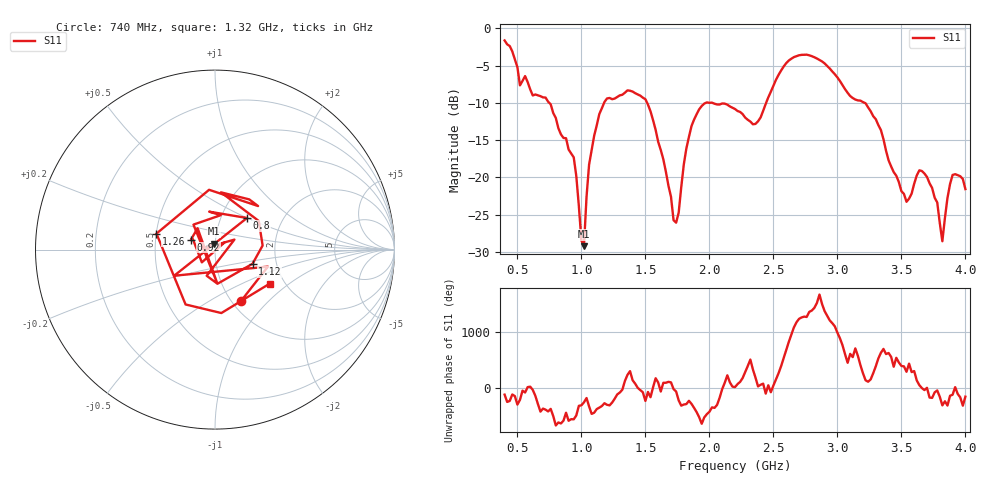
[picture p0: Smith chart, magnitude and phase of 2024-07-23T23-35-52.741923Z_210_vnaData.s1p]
!Created with skrf (http://scikit-rf.org).
# Hz S RI R 50.0
!freq ReS11 ImS11
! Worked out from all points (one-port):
!   181 points, 400 MHz to 4 GHz, reference 50 ohm
!   lowest |S11| = -29.2 dB at 1.02 GHz (marker M1), VSWR 1.07, Z = 49.3 + j3.35 ohm
!   |S11| at or under -10 dB: 749.3 MHz to 1.177 GHz (427.8 MHz wide, 44.4 % of centre); 1.514 GHz to 1.972 GHz (457.9 MHz wide, 26.3 % of centre); 3.214 GHz to end of sweep (the widest 3 of 4)
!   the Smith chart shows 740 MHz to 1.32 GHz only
!   S11 on the Smith chart (normalised r, x): 740 MHz: 1.10, -0.71; 800 MHz: 1.33, +0.50; 920 MHz: 0.76, +0.09; 1.12 GHz: 1.50, -0.25; 1.26 GHz: 0.50, +0.10; 1.32 GHz: 1.68, -0.73
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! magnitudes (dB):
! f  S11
! 400 MHz  -1.6
! 520 MHz  -7.6
! 740 MHz  -9.8
! 800 MHz  -12.0
! 860 MHz  -14.7
! 920 MHz  -16.8
! 1.02 GHz  -29.2
! 1.06 GHz  -18.3
! 1.12 GHz  -13.0
! 1.26 GHz  -9.4
! 1.3 GHz  -9.0
! 1.32 GHz  -8.9
! 1.5 GHz  -9.5
! 1.72 GHz  -25.8
! 1.76 GHz  -24.7
! 1.82 GHz  -16.1
! 1.92 GHz  -10.9
! 2.2 GHz  -10.8
! 2.36 GHz  -12.8
! 2.66 GHz  -3.9
! 3.1 GHz  -9.1
! 3.3 GHz  -12.2
! 3.56 GHz  -22.9
! 3.68 GHz  -19.5
! 3.78 GHz  -23.4
! 3.82 GHz  -28.6
! 3.9 GHz  -19.7
! 4 GHz  -21.6
